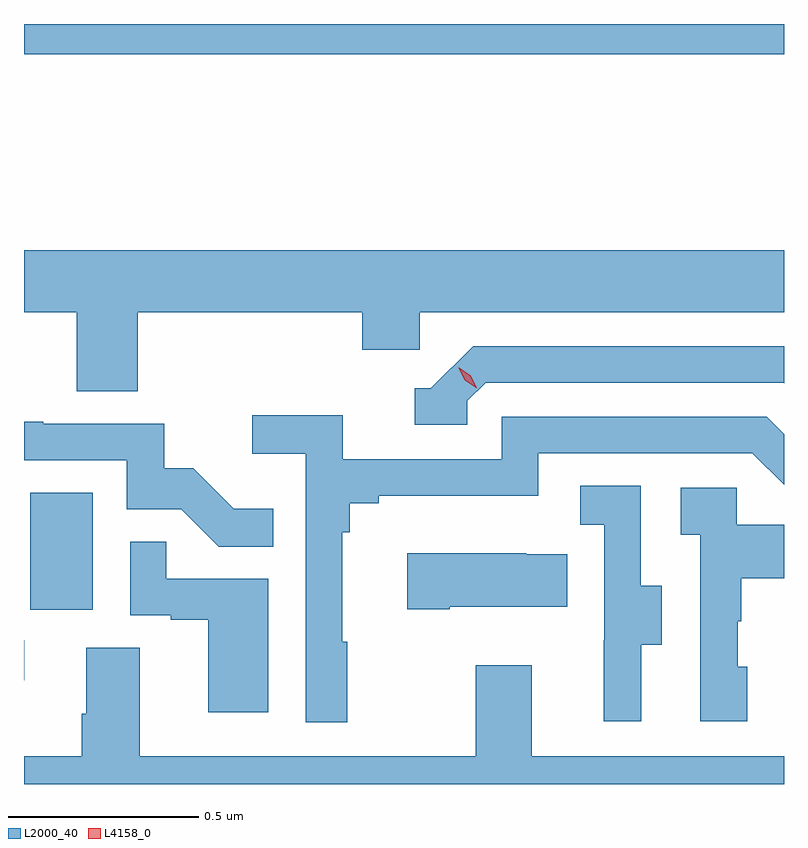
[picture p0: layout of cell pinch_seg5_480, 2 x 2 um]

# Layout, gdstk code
import gdstk
lib = gdstk.Library(unit=1e-6, precision=1e-09)
def R(c, l, rs):  # rectangles x0, y0, x1, y1
    for r in rs: c.add(gdstk.rectangle(r[:2], r[2:], *l))
def P(c, l, *ps):  # polygons
    for p in ps: c.add(gdstk.Polygon(p, *l))
L2000_40 = (2000, 40)
L4158_0 = (4158, 0)

pinch_seg5_480 = lib.new_cell('pinch_seg5_480')
R(pinch_seg5_480, L2000_40, [(885.471,857.124,885.472,857.229), (885.488,857.31,885.652,857.617), (885.471,858.772,887.471,858.851)])
P(pinch_seg5_480, L2000_40, [(885.77,858.092),(886.361,858.092),(886.361,857.994),(886.512,857.994),(886.512,858.092),(887.471,858.092),(887.471,858.256),(885.471,858.256),(885.471,858.092),(885.61,858.092),(885.61,857.884),(885.77,857.884)],
  [(886.638,857.859),(886.686,857.907),(887.469,857.907),(887.471,857.905),(887.471,858.003),(886.653,858.003),(886.542,857.892),(886.499,857.892),(886.499,857.796),(886.638,857.796)],
  [(886.321,857.225),(886.309,857.225),(886.309,857.513),(886.328,857.513),(886.328,857.59),(886.405,857.59),(886.405,857.609),(886.824,857.609),(886.824,857.721),(887.388,857.721),(887.471,857.638),(887.471,857.771),(887.425,857.817),(886.728,857.817),(886.728,857.706),(886.31,857.706),(886.31,857.822),(886.071,857.822),(886.071,857.72),(886.212,857.72),(886.212,857.013),(886.321,857.013)],
  [(886.127,857.575),(886.023,857.575),(885.916,857.682),(885.84,857.682),(885.84,857.799),(885.521,857.799),(885.521,857.804),(885.471,857.804),(885.471,857.703),(885.741,857.703),(885.741,857.574),(885.885,857.574),(885.983,857.476),(886.127,857.476)],
  [(887.095,857.218),(887.149,857.218),(887.149,857.373),(887.094,857.373),(887.094,857.636),(886.935,857.636),(886.935,857.533),(886.998,857.533),(886.998,857.229),(886.997,857.229),(886.997,857.016),(887.095,857.016)],
  [(887.374,857.16),(887.349,857.16),(887.349,857.279),(887.359,857.279),(887.359,857.393),(887.471,857.393),(887.471,857.533),(887.346,857.533),(887.346,857.631),(887.199,857.631),(887.199,857.507),(887.25,857.507),(887.25,857.016),(887.374,857.016)],
  [(886.114,857.391),(885.845,857.391),(885.845,857.489),(885.75,857.489),(885.75,857.295),(885.857,857.295),(885.857,857.283),(885.956,857.283),(885.956,857.04),(886.114,857.04)],
  [(886.591,857.318),(886.901,857.318),(886.901,857.455),(886.793,857.455),(886.793,857.458),(886.479,857.458),(886.479,857.311),(886.591,857.311)],
  [(885.471,856.851),(887.471,856.851),(887.471,856.924),(886.807,856.924),(886.807,857.164),(886.66,857.164),(886.66,856.924),(885.775,856.924),(885.775,857.21),(885.635,857.21),(885.635,857.036),(885.623,857.036),(885.623,856.924),(885.471,856.924)])
P(pinch_seg5_480, L4158_0, [(886.662,857.893),(886.631,857.913),(886.615,857.945),(886.615,857.946),(886.616,857.946),(886.646,857.926),(886.662,857.893),(886.662,857.893)])

lib.write_gds('pinch_seg5_480.gds')
